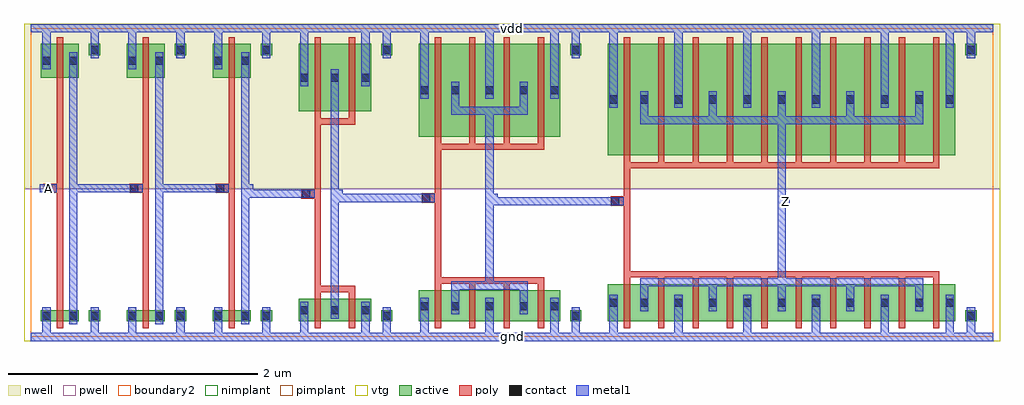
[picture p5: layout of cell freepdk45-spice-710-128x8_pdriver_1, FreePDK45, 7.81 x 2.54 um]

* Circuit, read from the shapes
.subckt freepdk45-spice-710-128x8_pdriver_1 A Z gnd vdd
M1 freepdk45-spice-710-128x8_pinv_1_1/A A gnd gnd nfet w=0.09u l=0.05u
M2 freepdk45-spice-710-128x8_pinv_1_2/A freepdk45-spice-710-128x8_pinv_1_1/A gnd gnd nfet w=0.09u l=0.05u
M3 freepdk45-spice-710-128x8_pinv_8_3/A freepdk45-spice-710-128x8_pinv_1_2/A gnd gnd nfet w=0.09u l=0.05u
M4 freepdk45-spice-710-128x8_pinv_9_4/A freepdk45-spice-710-128x8_pinv_8_3/A gnd gnd nfet w=0.18u l=0.05u m=2
M5 freepdk45-spice-710-128x8_pinv_10_5/A freepdk45-spice-710-128x8_pinv_9_4/A gnd gnd nfet w=0.2475u l=0.05u m=4
M6 Z freepdk45-spice-710-128x8_pinv_10_5/A gnd gnd nfet w=0.2975u l=0.05u m=10
M7 freepdk45-spice-710-128x8_pinv_1_1/A A vdd vdd pfet w=0.27u l=0.05u
M8 freepdk45-spice-710-128x8_pinv_1_2/A freepdk45-spice-710-128x8_pinv_1_1/A vdd vdd pfet w=0.27u l=0.05u
M9 freepdk45-spice-710-128x8_pinv_8_3/A freepdk45-spice-710-128x8_pinv_1_2/A vdd vdd pfet w=0.27u l=0.05u
M10 freepdk45-spice-710-128x8_pinv_9_4/A freepdk45-spice-710-128x8_pinv_8_3/A vdd vdd pfet w=0.54u l=0.05u m=2
M11 freepdk45-spice-710-128x8_pinv_10_5/A freepdk45-spice-710-128x8_pinv_9_4/A vdd vdd pfet w=0.7425u l=0.05u m=4
M12 Z freepdk45-spice-710-128x8_pinv_10_5/A vdd vdd pfet w=0.89u l=0.05u m=10
.ends

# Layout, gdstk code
import gdstk
lib = gdstk.Library(unit=1e-6, precision=5e-10)
def R(c, l, rs):  # rectangles x0, y0, x1, y1
    for r in rs: c.add(gdstk.rectangle(r[:2], r[2:], *l))
def A(c, l, x, y, w, h, nx, ny, dx, dy):  # array of equal rectangles
    R(c, l, [(x+i*dx, y+j*dy, x+i*dx+w, y+j*dy+h) for i in range(nx) for j in range(ny)])
active = (1, 0)
pwell = (2, 0)
nwell = (3, 0)
nimplant = (4, 0)
pimplant = (5, 0)
vtg = (6, 0)
poly = (9, 0)
contact = (10, 0)
metal1 = (11, 0)
boundary2 = (239, 0)

freepdk45_spice_710_128x = lib.new_cell('freepdk45-spice-710-128x8_contact_11')
R(freepdk45_spice_710_128x, active, [(0,0.0225,0.09,0.1125)])
R(freepdk45_spice_710_128x, nwell, [(-0.055,-0.0325,0.145,0.1675)])
R(freepdk45_spice_710_128x, pimplant, [(0,0.0225,0.09,0.1125)])
R(freepdk45_spice_710_128x, contact, [(0.0125,0.035,0.0775,0.1)])
R(freepdk45_spice_710_128x, metal1, [(0.0125,0,0.0775,0.135)])
R(freepdk45_spice_710_128x, boundary2, [(-0.055,-0.0325,0.145,0.1675)])

c_freepdk45_spice_710_128x = lib.new_cell('freepdk45-spice-710-128x8_pmos_m1_w0_270_sm1_dm1_da_p')
R(c_freepdk45_spice_710_128x, active, [(0,0,0.305,0.27)])
R(c_freepdk45_spice_710_128x, nwell, [(-0.08,-0.08,0.385,0.35)])
R(c_freepdk45_spice_710_128x, pimplant, [(0,0,0.305,0.27)])
R(c_freepdk45_spice_710_128x, vtg, [(-0.08,-0.08,0.385,0.35)])
R(c_freepdk45_spice_710_128x, poly, [(0.1275,-0.055,0.1775,0.325), (0.1275,-0.055,0.1775,0.325)])
R(c_freepdk45_spice_710_128x, metal1, [(0.0125,0.0675,0.0775,0.2025), (0.2275,0.0675,0.2925,0.2025)])
R(c_freepdk45_spice_710_128x, boundary2, [(-0.08,-0.08,0.385,0.35)])
c_freepdk45_spice_710_128x.add(gdstk.Reference(freepdk45_spice_710_128x, (0,0.0675)))
c_freepdk45_spice_710_128x.add(gdstk.Reference(freepdk45_spice_710_128x, (0.215,0.0675)))
c_freepdk45_spice_710_128x.add(gdstk.Label('G', (0.1525,0.135), layer=9, texttype=0))
c_freepdk45_spice_710_128x.add(gdstk.Label('S', (0.045,0.135), layer=11, texttype=0))
c_freepdk45_spice_710_128x.add(gdstk.Label('D', (0.26,0.135), layer=11, texttype=0))

c_freepdk45_spice_710_128x_ = lib.new_cell('freepdk45-spice-710-128x8_contact_10')
R(c_freepdk45_spice_710_128x_, active, [(0,0.0225,0.09,0.1125)])
R(c_freepdk45_spice_710_128x_, pwell, [(-0.055,-0.0325,0.145,0.1675)])
R(c_freepdk45_spice_710_128x_, nimplant, [(0,0.0225,0.09,0.1125)])
R(c_freepdk45_spice_710_128x_, contact, [(0.0125,0.035,0.0775,0.1)])
R(c_freepdk45_spice_710_128x_, metal1, [(0.0125,0,0.0775,0.135)])
R(c_freepdk45_spice_710_128x_, boundary2, [(-0.055,-0.0325,0.145,0.1675)])

c_freepdk45_spice_710_128x__ = lib.new_cell('freepdk45-spice-710-128x8_nmos_m1_w0_090_sm1_dm1_da_p')
R(c_freepdk45_spice_710_128x__, active, [(0,0,0.305,0.09)])
R(c_freepdk45_spice_710_128x__, pwell, [(-0.08,-0.08,0.385,0.17)])
R(c_freepdk45_spice_710_128x__, nimplant, [(0,0,0.305,0.09)])
R(c_freepdk45_spice_710_128x__, vtg, [(-0.08,-0.08,0.385,0.17)])
R(c_freepdk45_spice_710_128x__, poly, [(0.1275,-0.055,0.1775,0.145), (0.1275,-0.055,0.1775,0.145)])
R(c_freepdk45_spice_710_128x__, metal1, [(0.0125,-0.0225,0.0775,0.1125), (0.2275,-0.0225,0.2925,0.1125)])
R(c_freepdk45_spice_710_128x__, boundary2, [(-0.08,-0.08,0.385,0.17)])
c_freepdk45_spice_710_128x__.add(gdstk.Reference(c_freepdk45_spice_710_128x_, (0,-0.0225)))
c_freepdk45_spice_710_128x__.add(gdstk.Reference(c_freepdk45_spice_710_128x_, (0.215,-0.0225)))
c_freepdk45_spice_710_128x__.add(gdstk.Label('G', (0.1525,0.045), layer=9, texttype=0))
c_freepdk45_spice_710_128x__.add(gdstk.Label('S', (0.045,0.045), layer=11, texttype=0))
c_freepdk45_spice_710_128x__.add(gdstk.Label('D', (0.26,0.045), layer=11, texttype=0))

c_freepdk45_spice_710_128x___ = lib.new_cell('freepdk45-spice-710-128x8_contact_12')
R(c_freepdk45_spice_710_128x___, active, [(0,0.0225,0.09,0.1125)])
R(c_freepdk45_spice_710_128x___, nwell, [(-0.055,-0.0325,0.145,0.1675)])
R(c_freepdk45_spice_710_128x___, nimplant, [(0,0.0225,0.09,0.1125)])
R(c_freepdk45_spice_710_128x___, contact, [(0.0125,0.035,0.0775,0.1)])
R(c_freepdk45_spice_710_128x___, metal1, [(0.0125,0,0.0775,0.135)])
R(c_freepdk45_spice_710_128x___, boundary2, [(-0.055,-0.0325,0.145,0.1675)])

c_freepdk45_spice_710_128x____ = lib.new_cell('freepdk45-spice-710-128x8_contact_13')
R(c_freepdk45_spice_710_128x____, active, [(0,0.0225,0.09,0.1125)])
R(c_freepdk45_spice_710_128x____, pwell, [(-0.055,-0.0325,0.145,0.1675)])
R(c_freepdk45_spice_710_128x____, pimplant, [(0,0.0225,0.09,0.1125)])
R(c_freepdk45_spice_710_128x____, contact, [(0.0125,0.035,0.0775,0.1)])
R(c_freepdk45_spice_710_128x____, metal1, [(0.0125,0,0.0775,0.135)])
R(c_freepdk45_spice_710_128x____, boundary2, [(-0.055,-0.0325,0.145,0.1675)])

c_freepdk45_spice_710_128x_____ = lib.new_cell('freepdk45-spice-710-128x8_contact_14')
R(c_freepdk45_spice_710_128x_____, poly, [(0.03,0,0.105,0.075)])
R(c_freepdk45_spice_710_128x_____, contact, [(0.035,0.005,0.1,0.07)])
R(c_freepdk45_spice_710_128x_____, metal1, [(0,0.005,0.135,0.07)])
R(c_freepdk45_spice_710_128x_____, boundary2, [(0,0,0.135,0.075)])

c_freepdk45_spice_710_128x______ = lib.new_cell('freepdk45-spice-710-128x8_pinv_1')
R(c_freepdk45_spice_710_128x______, pwell, [(-0.055,-0.0325,0.7425,1.185)])
R(c_freepdk45_spice_710_128x______, nwell, [(-0.055,1.185,0.7425,2.505)])
R(c_freepdk45_spice_710_128x______, vtg, [(-0.055,-0.0325,0.7425,1.185), (-0.055,1.185,0.7425,2.505)])
R(c_freepdk45_spice_710_128x______, poly, [(0.2075,0.27,0.2575,2.02), (0.14,1.1525,0.2075,1.2275)])
R(c_freepdk45_spice_710_128x______, metal1, [(0,-0.0325,0.6875,0.0325), (0.0925,-0.0325,0.1575,0.1025), (0.4775,0,0.5425,0.17), (0.3075,0.1025,0.3725,2.2775), (0.0725,1.1575,0.2075,1.2225), (0.34,1.1575,0.405,1.2225), (0.0925,2.1425,0.1575,2.5025), (0.4775,2.3,0.5425,2.47), (0,2.4375,0.6875,2.5025)])
R(c_freepdk45_spice_710_128x______, boundary2, [(0,0,0.6875,2.47), (0,0,0.6875,2.47)])
c_freepdk45_spice_710_128x______.add(gdstk.Reference(c_freepdk45_spice_710_128x, (0.08,2.075)))
c_freepdk45_spice_710_128x______.add(gdstk.Reference(c_freepdk45_spice_710_128x__, (0.08,0.125)))
c_freepdk45_spice_710_128x______.add(gdstk.Reference(c_freepdk45_spice_710_128x___, (0.465,2.2325)))
c_freepdk45_spice_710_128x______.add(gdstk.Reference(c_freepdk45_spice_710_128x____, (0.465,0.1025)))
c_freepdk45_spice_710_128x______.add(gdstk.Reference(c_freepdk45_spice_710_128x_____, (0.0725,1.1525)))
c_freepdk45_spice_710_128x______.add(gdstk.Label('A', (0.14,1.19), layer=11, texttype=0))
c_freepdk45_spice_710_128x______.add(gdstk.Label('Z', (0.3725,1.19), layer=11, texttype=0))
c_freepdk45_spice_710_128x______.add(gdstk.Label('gnd', (0.344,0), layer=11, texttype=0))
c_freepdk45_spice_710_128x______.add(gdstk.Label('vdd', (0.344,2.47), layer=11, texttype=0))

c_freepdk45_spice_710_128x_______ = lib.new_cell('freepdk45-spice-710-128x8_pmos_m2_w0_540_sm1_dm1_da_p')
R(c_freepdk45_spice_710_128x_______, active, [(0,0,0.58,0.54)])
R(c_freepdk45_spice_710_128x_______, nwell, [(-0.08,-0.08,0.66,0.62)])
R(c_freepdk45_spice_710_128x_______, pimplant, [(0,0,0.58,0.54)])
R(c_freepdk45_spice_710_128x_______, vtg, [(-0.08,-0.08,0.66,0.62)])
R(c_freepdk45_spice_710_128x_______, poly, [(0.1275,-0.105,0.4525,-0.055), (0.1275,-0.055,0.1775,0.595), (0.4025,-0.055,0.4525,0.595)])
A(c_freepdk45_spice_710_128x_______, metal1, 0.0125, 0.2025, 0.065, 0.135, 3, 1, 0.245, 0)
R(c_freepdk45_spice_710_128x_______, boundary2, [(-0.08,-0.105,0.66,0.62)])
c_freepdk45_spice_710_128x_______.add(gdstk.Reference(freepdk45_spice_710_128x, (0,0.2025)))
c_freepdk45_spice_710_128x_______.add(gdstk.Reference(freepdk45_spice_710_128x, (0.245,0.2025)))
c_freepdk45_spice_710_128x_______.add(gdstk.Reference(freepdk45_spice_710_128x, (0.49,0.2025)))
c_freepdk45_spice_710_128x_______.add(gdstk.Label('G', (0.29,-0.08), layer=9, texttype=0))
c_freepdk45_spice_710_128x_______.add(gdstk.Label('S', (0.535,0.27), layer=11, texttype=0))
c_freepdk45_spice_710_128x_______.add(gdstk.Label('S', (0.045,0.27), layer=11, texttype=0))
c_freepdk45_spice_710_128x_______.add(gdstk.Label('D', (0.29,0.27), layer=11, texttype=0))

c_freepdk45_spice_710_128x________ = lib.new_cell('freepdk45-spice-710-128x8_nmos_m2_w0_180_sm1_dm1_da_p')
R(c_freepdk45_spice_710_128x________, active, [(0,0,0.58,0.18)])
R(c_freepdk45_spice_710_128x________, pwell, [(-0.08,-0.08,0.66,0.26)])
R(c_freepdk45_spice_710_128x________, nimplant, [(0,0,0.58,0.18)])
R(c_freepdk45_spice_710_128x________, vtg, [(-0.08,-0.08,0.66,0.26)])
R(c_freepdk45_spice_710_128x________, poly, [(0.1275,-0.055,0.1775,0.235), (0.4025,-0.055,0.4525,0.235), (0.1275,0.235,0.4525,0.285)])
A(c_freepdk45_spice_710_128x________, metal1, 0.0125, 0.0225, 0.065, 0.135, 3, 1, 0.245, 0)
R(c_freepdk45_spice_710_128x________, boundary2, [(-0.08,-0.08,0.66,0.285)])
c_freepdk45_spice_710_128x________.add(gdstk.Reference(c_freepdk45_spice_710_128x_, (0,0.0225)))
c_freepdk45_spice_710_128x________.add(gdstk.Reference(c_freepdk45_spice_710_128x_, (0.245,0.0225)))
c_freepdk45_spice_710_128x________.add(gdstk.Reference(c_freepdk45_spice_710_128x_, (0.49,0.0225)))
c_freepdk45_spice_710_128x________.add(gdstk.Label('G', (0.29,0.26), layer=9, texttype=0))
c_freepdk45_spice_710_128x________.add(gdstk.Label('S', (0.535,0.09), layer=11, texttype=0))
c_freepdk45_spice_710_128x________.add(gdstk.Label('S', (0.045,0.09), layer=11, texttype=0))
c_freepdk45_spice_710_128x________.add(gdstk.Label('D', (0.29,0.09), layer=11, texttype=0))

c_freepdk45_spice_710_128x_________ = lib.new_cell('freepdk45-spice-710-128x8_pinv_8')
R(c_freepdk45_spice_710_128x_________, pwell, [(-0.055,-0.0325,1.0175,1.185)])
R(c_freepdk45_spice_710_128x_________, nwell, [(-0.055,1.185,1.0175,2.505)])
R(c_freepdk45_spice_710_128x_________, vtg, [(-0.055,-0.0325,1.0175,1.185), (-0.055,1.185,1.0175,2.505)])
R(c_freepdk45_spice_710_128x_________, poly, [(0.2075,0.41,0.2575,1.7), (0.14,1.1075,0.2075,1.1825)])
R(c_freepdk45_spice_710_128x_________, metal1, [(0,-0.0325,0.9625,0.0325), (0.0925,-0.0325,0.1575,0.1475), (0.5825,-0.0325,0.6475,0.1475), (0.7525,0,0.8175,0.17), (0.3375,0.1475,0.4025,2.1425), (0.0725,1.1125,0.2075,1.1775), (0.37,1.1125,0.435,1.1775), (0.0925,2.0075,0.1575,2.5025), (0.5825,2.0075,0.6475,2.5025), (0.7525,2.3,0.8175,2.47), (0,2.4375,0.9625,2.5025)])
R(c_freepdk45_spice_710_128x_________, boundary2, [(0,0,0.9625,2.47), (0,0,0.9625,2.47)])
c_freepdk45_spice_710_128x_________.add(gdstk.Reference(c_freepdk45_spice_710_128x_______, (0.08,1.805)))
c_freepdk45_spice_710_128x_________.add(gdstk.Reference(c_freepdk45_spice_710_128x________, (0.08,0.125)))
c_freepdk45_spice_710_128x_________.add(gdstk.Reference(c_freepdk45_spice_710_128x___, (0.74,2.2325)))
c_freepdk45_spice_710_128x_________.add(gdstk.Reference(c_freepdk45_spice_710_128x____, (0.74,0.1025)))
c_freepdk45_spice_710_128x_________.add(gdstk.Reference(c_freepdk45_spice_710_128x_____, (0.0725,1.1075)))
c_freepdk45_spice_710_128x_________.add(gdstk.Label('A', (0.14,1.145), layer=11, texttype=0))
c_freepdk45_spice_710_128x_________.add(gdstk.Label('Z', (0.4025,1.145), layer=11, texttype=0))
c_freepdk45_spice_710_128x_________.add(gdstk.Label('gnd', (0.481,0), layer=11, texttype=0))
c_freepdk45_spice_710_128x_________.add(gdstk.Label('vdd', (0.481,2.47), layer=11, texttype=0))

c_freepdk45_spice_710_128x__________ = lib.new_cell('freepdk45-spice-710-128x8_pmos_m4_w0_743_sm1_dm1_da_p')
R(c_freepdk45_spice_710_128x__________, active, [(0,0,1.13,0.7425)])
R(c_freepdk45_spice_710_128x__________, nwell, [(-0.08,-0.08,1.21,0.8225)])
R(c_freepdk45_spice_710_128x__________, pimplant, [(0,0,1.13,0.7425)])
R(c_freepdk45_spice_710_128x__________, vtg, [(-0.08,-0.08,1.21,0.8225)])
A(c_freepdk45_spice_710_128x__________, poly, 0.1275, -0.055, 0.05, 0.8525, 4, 1, 0.275, 0)
R(c_freepdk45_spice_710_128x__________, poly, [(0.1275,-0.105,1.0025,-0.055)])
A(c_freepdk45_spice_710_128x__________, metal1, 0.0125, 0.305, 0.065, 0.135, 3, 1, 0.52, 0)
R(c_freepdk45_spice_710_128x__________, metal1, [(0.2575,0.175,0.8725,0.24), (0.2575,0.205,0.3225,0.37), (0.8075,0.205,0.8725,0.37)])
R(c_freepdk45_spice_710_128x__________, boundary2, [(-0.08,-0.105,1.21,0.8225)])
c_freepdk45_spice_710_128x__________.add(gdstk.Reference(freepdk45_spice_710_128x, (0,0.305)))
c_freepdk45_spice_710_128x__________.add(gdstk.Reference(freepdk45_spice_710_128x, (0.245,0.305)))
c_freepdk45_spice_710_128x__________.add(gdstk.Reference(freepdk45_spice_710_128x, (0.52,0.305)))
c_freepdk45_spice_710_128x__________.add(gdstk.Reference(freepdk45_spice_710_128x, (0.795,0.305)))
c_freepdk45_spice_710_128x__________.add(gdstk.Reference(freepdk45_spice_710_128x, (1.04,0.305)))
c_freepdk45_spice_710_128x__________.add(gdstk.Label('G', (0.565,-0.08), layer=9, texttype=0))
c_freepdk45_spice_710_128x__________.add(gdstk.Label('S', (0.045,0.3725), layer=11, texttype=0))
c_freepdk45_spice_710_128x__________.add(gdstk.Label('S', (1.085,0.3725), layer=11, texttype=0))
c_freepdk45_spice_710_128x__________.add(gdstk.Label('S', (0.565,0.3725), layer=11, texttype=0))
c_freepdk45_spice_710_128x__________.add(gdstk.Label('D', (0.565,0.2075), layer=11, texttype=0))

c_freepdk45_spice_710_128x___________ = lib.new_cell('freepdk45-spice-710-128x8_nmos_m4_w0_247_sm1_dm1_da_p')
R(c_freepdk45_spice_710_128x___________, active, [(0,0,1.13,0.2475)])
R(c_freepdk45_spice_710_128x___________, pwell, [(-0.08,-0.08,1.21,0.3275)])
R(c_freepdk45_spice_710_128x___________, nimplant, [(0,0,1.13,0.2475)])
R(c_freepdk45_spice_710_128x___________, vtg, [(-0.08,-0.08,1.21,0.3275)])
A(c_freepdk45_spice_710_128x___________, poly, 0.1275, -0.055, 0.05, 0.3575, 4, 1, 0.275, 0)
R(c_freepdk45_spice_710_128x___________, poly, [(0.1275,0.3025,1.0025,0.3525)])
A(c_freepdk45_spice_710_128x___________, metal1, 0.0125, 0.055, 0.065, 0.135, 3, 1, 0.52, 0)
R(c_freepdk45_spice_710_128x___________, metal1, [(0.2575,0.125,0.3225,0.29), (0.8075,0.125,0.8725,0.29), (0.2575,0.255,0.8725,0.32)])
R(c_freepdk45_spice_710_128x___________, boundary2, [(-0.08,-0.08,1.21,0.3525)])
c_freepdk45_spice_710_128x___________.add(gdstk.Reference(c_freepdk45_spice_710_128x_, (0,0.055)))
c_freepdk45_spice_710_128x___________.add(gdstk.Reference(c_freepdk45_spice_710_128x_, (0.245,0.055)))
c_freepdk45_spice_710_128x___________.add(gdstk.Reference(c_freepdk45_spice_710_128x_, (0.52,0.055)))
c_freepdk45_spice_710_128x___________.add(gdstk.Reference(c_freepdk45_spice_710_128x_, (0.795,0.055)))
c_freepdk45_spice_710_128x___________.add(gdstk.Reference(c_freepdk45_spice_710_128x_, (1.04,0.055)))
c_freepdk45_spice_710_128x___________.add(gdstk.Label('G', (0.565,0.3275), layer=9, texttype=0))
c_freepdk45_spice_710_128x___________.add(gdstk.Label('S', (0.045,0.1225), layer=11, texttype=0))
c_freepdk45_spice_710_128x___________.add(gdstk.Label('S', (0.565,0.1225), layer=11, texttype=0))
c_freepdk45_spice_710_128x___________.add(gdstk.Label('S', (1.085,0.1225), layer=11, texttype=0))
c_freepdk45_spice_710_128x___________.add(gdstk.Label('D', (0.565,0.2875), layer=11, texttype=0))

c_freepdk45_spice_710_128x____________ = lib.new_cell('freepdk45-spice-710-128x8_pinv_9')
R(c_freepdk45_spice_710_128x____________, pwell, [(-0.055,-0.0325,1.5675,1.185)])
R(c_freepdk45_spice_710_128x____________, nwell, [(-0.055,1.185,1.5675,2.505)])
R(c_freepdk45_spice_710_128x____________, vtg, [(-0.055,-0.0325,1.5675,1.185), (-0.055,1.185,1.5675,2.505)])
R(c_freepdk45_spice_710_128x____________, poly, [(0.2075,0.4775,0.2575,1.4975), (0.14,1.075,0.2075,1.15)])
A(c_freepdk45_spice_710_128x____________, metal1, 0.0925, -0.0325, 0.065, 0.2125, 3, 1, 0.52, 0)
A(c_freepdk45_spice_710_128x____________, metal1, 0.0925, 1.9075, 0.065, 0.595, 3, 1, 0.52, 0)
R(c_freepdk45_spice_710_128x____________, metal1, [(0,-0.0325,1.5125,0.0325), (1.3025,0,1.3675,0.17), (0.6125,0.38,0.6775,1.8425), (0.0725,1.08,0.2075,1.145), (0.645,1.08,0.71,1.145), (1.3025,2.3,1.3675,2.47), (0,2.4375,1.5125,2.5025)])
R(c_freepdk45_spice_710_128x____________, boundary2, [(0,0,1.5125,2.47), (0,0,1.5125,2.47)])
c_freepdk45_spice_710_128x____________.add(gdstk.Reference(c_freepdk45_spice_710_128x__________, (0.08,1.6025)))
c_freepdk45_spice_710_128x____________.add(gdstk.Reference(c_freepdk45_spice_710_128x___________, (0.08,0.125)))
c_freepdk45_spice_710_128x____________.add(gdstk.Reference(c_freepdk45_spice_710_128x___, (1.29,2.2325)))
c_freepdk45_spice_710_128x____________.add(gdstk.Reference(c_freepdk45_spice_710_128x____, (1.29,0.1025)))
c_freepdk45_spice_710_128x____________.add(gdstk.Reference(c_freepdk45_spice_710_128x_____, (0.0725,1.075)))
c_freepdk45_spice_710_128x____________.add(gdstk.Label('A', (0.14,1.1125), layer=11, texttype=0))
c_freepdk45_spice_710_128x____________.add(gdstk.Label('Z', (0.6775,1.1125), layer=11, texttype=0))
c_freepdk45_spice_710_128x____________.add(gdstk.Label('gnd', (0.756,0), layer=11, texttype=0))
c_freepdk45_spice_710_128x____________.add(gdstk.Label('vdd', (0.756,2.47), layer=11, texttype=0))

c_freepdk45_spice_710_128x_____________ = lib.new_cell('freepdk45-spice-710-128x8_pmos_m10_w0_890_sm1_dm1_da_p')
R(c_freepdk45_spice_710_128x_____________, active, [(0,0,2.78,0.89)])
R(c_freepdk45_spice_710_128x_____________, nwell, [(-0.08,-0.08,2.86,0.97)])
R(c_freepdk45_spice_710_128x_____________, pimplant, [(0,0,2.78,0.89)])
R(c_freepdk45_spice_710_128x_____________, vtg, [(-0.08,-0.08,2.86,0.97)])
A(c_freepdk45_spice_710_128x_____________, poly, 0.1275, -0.055, 0.05, 1, 10, 1, 0.275, 0)
R(c_freepdk45_spice_710_128x_____________, poly, [(0.1275,-0.105,2.6525,-0.055)])
A(c_freepdk45_spice_710_128x_____________, metal1, 0.2575, 0.28, 0.065, 0.165, 5, 1, 0.55, 0)
A(c_freepdk45_spice_710_128x_____________, metal1, 0.5325, 0.3775, 0.065, 0.135, 4, 1, 0.55, 0)
R(c_freepdk45_spice_710_128x_____________, metal1, [(0.2575,0.2475,2.5225,0.3125), (0.0125,0.3775,0.0775,0.5125), (2.7025,0.3775,2.7675,0.5125)])
R(c_freepdk45_spice_710_128x_____________, boundary2, [(-0.08,-0.105,2.86,0.97)])
c_freepdk45_spice_710_128x_____________.add(gdstk.Reference(freepdk45_spice_710_128x, (0,0.3775)))
c_freepdk45_spice_710_128x_____________.add(gdstk.Reference(freepdk45_spice_710_128x, (0.245,0.3775)))
c_freepdk45_spice_710_128x_____________.add(gdstk.Reference(freepdk45_spice_710_128x, (0.52,0.3775)))
c_freepdk45_spice_710_128x_____________.add(gdstk.Reference(freepdk45_spice_710_128x, (0.795,0.3775)))
c_freepdk45_spice_710_128x_____________.add(gdstk.Reference(freepdk45_spice_710_128x, (1.07,0.3775)))
c_freepdk45_spice_710_128x_____________.add(gdstk.Reference(freepdk45_spice_710_128x, (1.345,0.3775)))
c_freepdk45_spice_710_128x_____________.add(gdstk.Reference(freepdk45_spice_710_128x, (1.62,0.3775)))
c_freepdk45_spice_710_128x_____________.add(gdstk.Reference(freepdk45_spice_710_128x, (1.895,0.3775)))
c_freepdk45_spice_710_128x_____________.add(gdstk.Reference(freepdk45_spice_710_128x, (2.17,0.3775)))
c_freepdk45_spice_710_128x_____________.add(gdstk.Reference(freepdk45_spice_710_128x, (2.445,0.3775)))
c_freepdk45_spice_710_128x_____________.add(gdstk.Reference(freepdk45_spice_710_128x, (2.69,0.3775)))
c_freepdk45_spice_710_128x_____________.add(gdstk.Label('G', (1.39,-0.08), layer=9, texttype=0))
c_freepdk45_spice_710_128x_____________.add(gdstk.Label('S', (2.215,0.445), layer=11, texttype=0))
c_freepdk45_spice_710_128x_____________.add(gdstk.Label('S', (1.665,0.445), layer=11, texttype=0))
c_freepdk45_spice_710_128x_____________.add(gdstk.Label('S', (0.045,0.445), layer=11, texttype=0))
c_freepdk45_spice_710_128x_____________.add(gdstk.Label('S', (1.115,0.445), layer=11, texttype=0))
c_freepdk45_spice_710_128x_____________.add(gdstk.Label('S', (0.565,0.445), layer=11, texttype=0))
c_freepdk45_spice_710_128x_____________.add(gdstk.Label('S', (2.735,0.445), layer=11, texttype=0))
c_freepdk45_spice_710_128x_____________.add(gdstk.Label('D', (1.39,0.28), layer=11, texttype=0))

c_freepdk45_spice_710_128x______________ = lib.new_cell('freepdk45-spice-710-128x8_nmos_m10_w0_297_sm1_dm1_da_p')
R(c_freepdk45_spice_710_128x______________, active, [(0,0,2.78,0.2975)])
R(c_freepdk45_spice_710_128x______________, pwell, [(-0.08,-0.08,2.86,0.3775)])
R(c_freepdk45_spice_710_128x______________, nimplant, [(0,0,2.78,0.2975)])
R(c_freepdk45_spice_710_128x______________, vtg, [(-0.08,-0.08,2.86,0.3775)])
A(c_freepdk45_spice_710_128x______________, poly, 0.1275, -0.055, 0.05, 0.4075, 10, 1, 0.275, 0)
R(c_freepdk45_spice_710_128x______________, poly, [(0.1275,0.3525,2.6525,0.4025)])
A(c_freepdk45_spice_710_128x______________, metal1, 0.5325, 0.08, 0.065, 0.135, 4, 1, 0.55, 0)
A(c_freepdk45_spice_710_128x______________, metal1, 0.2575, 0.15, 0.065, 0.165, 5, 1, 0.55, 0)
R(c_freepdk45_spice_710_128x______________, metal1, [(0.0125,0.08,0.0775,0.215), (2.7025,0.08,2.7675,0.215), (0.2575,0.28,2.5225,0.345)])
R(c_freepdk45_spice_710_128x______________, boundary2, [(-0.08,-0.08,2.86,0.4025)])
c_freepdk45_spice_710_128x______________.add(gdstk.Reference(c_freepdk45_spice_710_128x_, (0,0.08)))
c_freepdk45_spice_710_128x______________.add(gdstk.Reference(c_freepdk45_spice_710_128x_, (0.245,0.08)))
c_freepdk45_spice_710_128x______________.add(gdstk.Reference(c_freepdk45_spice_710_128x_, (0.52,0.08)))
c_freepdk45_spice_710_128x______________.add(gdstk.Reference(c_freepdk45_spice_710_128x_, (0.795,0.08)))
c_freepdk45_spice_710_128x______________.add(gdstk.Reference(c_freepdk45_spice_710_128x_, (1.07,0.08)))
c_freepdk45_spice_710_128x______________.add(gdstk.Reference(c_freepdk45_spice_710_128x_, (1.345,0.08)))
c_freepdk45_spice_710_128x______________.add(gdstk.Reference(c_freepdk45_spice_710_128x_, (1.62,0.08)))
c_freepdk45_spice_710_128x______________.add(gdstk.Reference(c_freepdk45_spice_710_128x_, (1.895,0.08)))
c_freepdk45_spice_710_128x______________.add(gdstk.Reference(c_freepdk45_spice_710_128x_, (2.17,0.08)))
c_freepdk45_spice_710_128x______________.add(gdstk.Reference(c_freepdk45_spice_710_128x_, (2.445,0.08)))
c_freepdk45_spice_710_128x______________.add(gdstk.Reference(c_freepdk45_spice_710_128x_, (2.69,0.08)))
c_freepdk45_spice_710_128x______________.add(gdstk.Label('G', (1.39,0.3775), layer=9, texttype=0))
c_freepdk45_spice_710_128x______________.add(gdstk.Label('S', (1.665,0.1475), layer=11, texttype=0))
c_freepdk45_spice_710_128x______________.add(gdstk.Label('S', (0.565,0.1475), layer=11, texttype=0))
c_freepdk45_spice_710_128x______________.add(gdstk.Label('S', (2.735,0.1475), layer=11, texttype=0))
c_freepdk45_spice_710_128x______________.add(gdstk.Label('S', (1.115,0.1475), layer=11, texttype=0))
c_freepdk45_spice_710_128x______________.add(gdstk.Label('S', (2.215,0.1475), layer=11, texttype=0))
c_freepdk45_spice_710_128x______________.add(gdstk.Label('S', (0.045,0.1475), layer=11, texttype=0))
c_freepdk45_spice_710_128x______________.add(gdstk.Label('D', (1.39,0.3125), layer=11, texttype=0))

c_freepdk45_spice_710_128x_______________ = lib.new_cell('freepdk45-spice-710-128x8_pinv_10')
R(c_freepdk45_spice_710_128x_______________, pwell, [(-0.055,-0.0325,3.2175,1.185)])
R(c_freepdk45_spice_710_128x_______________, nwell, [(-0.055,1.185,3.2175,2.505)])
R(c_freepdk45_spice_710_128x_______________, vtg, [(-0.055,-0.0325,3.2175,1.185), (-0.055,1.185,3.2175,2.505)])
R(c_freepdk45_spice_710_128x_______________, poly, [(0.2075,0.5275,0.2575,1.35), (0.14,1.05,0.2075,1.125)])
A(c_freepdk45_spice_710_128x_______________, metal1, 0.6125, -0.0325, 0.065, 0.2375, 4, 1, 0.55, 0)
A(c_freepdk45_spice_710_128x_______________, metal1, 0.6125, 1.8325, 0.065, 0.67, 4, 1, 0.55, 0)
R(c_freepdk45_spice_710_128x_______________, metal1, [(0,-0.0325,3.1625,0.0325), (0.0925,-0.0325,0.1575,0.205), (2.7825,-0.0325,2.8475,0.205), (2.9525,0,3.0175,0.17), (1.4375,0.405,1.5025,1.7675), (0.0725,1.055,0.2075,1.12), (1.47,1.055,1.535,1.12), (0.0925,1.8325,0.1575,2.5025), (2.7825,1.8325,2.8475,2.5025), (2.9525,2.3,3.0175,2.47), (0,2.4375,3.1625,2.5025)])
R(c_freepdk45_spice_710_128x_______________, boundary2, [(0,0,3.1625,2.47), (0,0,3.1625,2.47)])
c_freepdk45_spice_710_128x_______________.add(gdstk.Reference(c_freepdk45_spice_710_128x_____________, (0.08,1.455)))
c_freepdk45_spice_710_128x_______________.add(gdstk.Reference(c_freepdk45_spice_710_128x______________, (0.08,0.125)))
c_freepdk45_spice_710_128x_______________.add(gdstk.Reference(c_freepdk45_spice_710_128x___, (2.94,2.2325)))
c_freepdk45_spice_710_128x_______________.add(gdstk.Reference(c_freepdk45_spice_710_128x____, (2.94,0.1025)))
c_freepdk45_spice_710_128x_______________.add(gdstk.Reference(c_freepdk45_spice_710_128x_____, (0.0725,1.05)))
c_freepdk45_spice_710_128x_______________.add(gdstk.Label('A', (0.14,1.0875), layer=11, texttype=0))
c_freepdk45_spice_710_128x_______________.add(gdstk.Label('Z', (1.5025,1.0875), layer=11, texttype=0))
c_freepdk45_spice_710_128x_______________.add(gdstk.Label('gnd', (1.581,0), layer=11, texttype=0))
c_freepdk45_spice_710_128x_______________.add(gdstk.Label('vdd', (1.581,2.47), layer=11, texttype=0))

c_freepdk45_spice_710_128x________________ = lib.new_cell('freepdk45-spice-710-128x8_pdriver_1')
R(c_freepdk45_spice_710_128x________________, pwell, [(-0.055,-0.0325,7.755,1.185)])
R(c_freepdk45_spice_710_128x________________, nwell, [(-0.055,1.185,7.755,2.505)])
R(c_freepdk45_spice_710_128x________________, vtg, [(-0.055,-0.0325,7.755,1.185), (-0.055,1.185,7.755,2.505)])
R(c_freepdk45_spice_710_128x________________, metal1, [(0,-0.0325,7.7,0.0325), (3.67,1.055,3.735,1.12), (3.7025,1.055,4.6775,1.12), (6.0075,1.055,6.0725,1.12), (2.4325,1.08,2.4975,1.145), (2.465,1.08,3.165,1.145), (3.67,1.0875,3.735,1.1125), (1.715,1.1125,1.78,1.1775), (1.7475,1.1125,2.2025,1.1775), (2.4325,1.1125,2.4975,1.145), (1.715,1.145,1.78,1.19), (0.0725,1.1575,0.2075,1.2225), (0.3725,1.1575,0.8275,1.2225), (1.06,1.1575,1.515,1.2225), (0,2.4375,7.7,2.5025)])
R(c_freepdk45_spice_710_128x________________, boundary2, [(0,0,7.7,2.47), (0,0,7.7,2.47)])
c_freepdk45_spice_710_128x________________.add(gdstk.Reference(c_freepdk45_spice_710_128x______, (0,0)))
c_freepdk45_spice_710_128x________________.add(gdstk.Reference(c_freepdk45_spice_710_128x______, (0.6875,0)))
c_freepdk45_spice_710_128x________________.add(gdstk.Reference(c_freepdk45_spice_710_128x______, (1.375,0)))
c_freepdk45_spice_710_128x________________.add(gdstk.Reference(c_freepdk45_spice_710_128x_________, (2.0625,0)))
c_freepdk45_spice_710_128x________________.add(gdstk.Reference(c_freepdk45_spice_710_128x____________, (3.025,0)))
c_freepdk45_spice_710_128x________________.add(gdstk.Reference(c_freepdk45_spice_710_128x_______________, (4.5375,0)))
c_freepdk45_spice_710_128x________________.add(gdstk.Label('Z', (6.04,1.0875), layer=11, texttype=0))
c_freepdk45_spice_710_128x________________.add(gdstk.Label('A', (0.14,1.19), layer=11, texttype=0))
c_freepdk45_spice_710_128x________________.add(gdstk.Label('gnd', (3.85,0), layer=11, texttype=0))
c_freepdk45_spice_710_128x________________.add(gdstk.Label('vdd', (3.85,2.47), layer=11, texttype=0))

lib.write_gds('freepdk45-spice-710-128x8_pdriver_1.gds')
